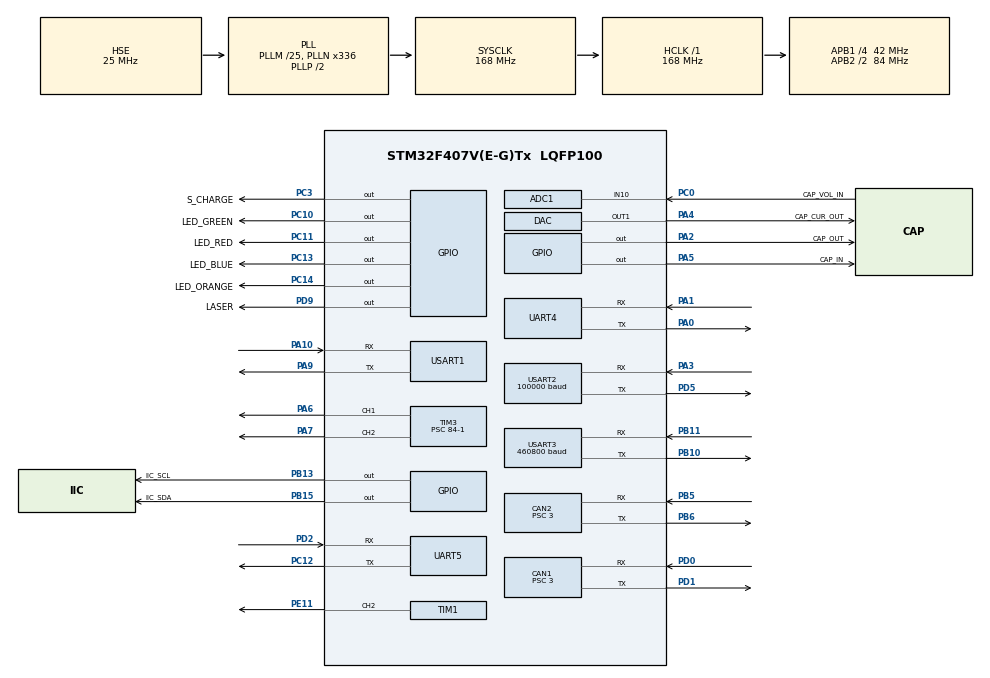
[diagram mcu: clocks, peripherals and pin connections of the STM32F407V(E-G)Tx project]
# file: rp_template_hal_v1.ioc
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ADC1.Channel-0\#ChannelRegularConversion=ADC_CHANNEL_10
ADC1.NbrOfConversionFlag=1
ADC1.Rank-0\#ChannelRegularConversion=1
ADC1.SamplingTime-0\#ChannelRegularConversion=ADC_SAMPLETIME_3CYCLES
ADC1.master=1
CAN1.BS1=CAN_BS1_9TQ
CAN1.BS2=CAN_BS2_4TQ
CAN1.CalculateTimeQuantum=71.42857142857143
CAN1.Prescaler=3
CAN1.TXFP=ENABLE
CAN2.BS1=CAN_BS1_9TQ
CAN2.BS2=CAN_BS2_4TQ
CAN2.CalculateTimeQuantum=71.42857142857143
CAN2.Prescaler=3
CAN2.TXFP=ENABLE
DAC.DAC_OutputBuffer=DAC_OUTPUTBUFFER_DISABLE
Dma.Request0=UART5_RX
Dma.Request1=USART1_RX
Dma.Request2=UART4_RX
Dma.Request3=USART2_RX
Dma.Request4=UART5_TX
Dma.Request5=USART3_TX
Dma.Request6=USART3_RX
Dma.UART4_RX.2.Direction=DMA_PERIPH_TO_MEMORY
Dma.UART4_RX.2.FIFOMode=DMA_FIFOMODE_DISABLE
Dma.UART4_RX.2.Instance=DMA1_Stream2
Dma.UART4_RX.2.MemDataAlignment=DMA_MDATAALIGN_BYTE
Dma.UART4_RX.2.MemInc=DMA_MINC_ENABLE
Dma.UART4_RX.2.Mode=DMA_CIRCULAR
Dma.UART4_RX.2.PeriphDataAlignment=DMA_PDATAALIGN_BYTE
Dma.UART4_RX.2.PeriphInc=DMA_PINC_DISABLE
Dma.UART4_RX.2.Priority=DMA_PRIORITY_LOW
Dma.UART5_RX.0.Direction=DMA_PERIPH_TO_MEMORY
Dma.UART5_RX.0.FIFOMode=DMA_FIFOMODE_DISABLE
Dma.UART5_RX.0.Instance=DMA1_Stream0
Dma.UART5_RX.0.MemDataAlignment=DMA_MDATAALIGN_BYTE
Dma.UART5_RX.0.MemInc=DMA_MINC_ENABLE
Dma.UART5_RX.0.Mode=DMA_CIRCULAR
Dma.UART5_RX.0.PeriphDataAlignment=DMA_PDATAALIGN_BYTE
Dma.UART5_RX.0.PeriphInc=DMA_PINC_DISABLE
Dma.UART5_RX.0.Priority=DMA_PRIORITY_VERY_HIGH
Dma.UART5_TX.4.Direction=DMA_MEMORY_TO_PERIPH
Dma.UART5_TX.4.FIFOMode=DMA_FIFOMODE_DISABLE
Dma.UART5_TX.4.Instance=DMA1_Stream7
Dma.UART5_TX.4.MemDataAlignment=DMA_MDATAALIGN_BYTE
Dma.UART5_TX.4.MemInc=DMA_MINC_ENABLE
Dma.UART5_TX.4.Mode=DMA_CIRCULAR
Dma.UART5_TX.4.PeriphDataAlignment=DMA_PDATAALIGN_BYTE
Dma.UART5_TX.4.PeriphInc=DMA_PINC_DISABLE
Dma.UART5_TX.4.Priority=DMA_PRIORITY_VERY_HIGH
Dma.USART1_RX.1.Direction=DMA_PERIPH_TO_MEMORY
Dma.USART1_RX.1.FIFOMode=DMA_FIFOMODE_DISABLE
Dma.USART1_RX.1.Instance=DMA2_Stream2
Dma.USART1_RX.1.MemDataAlignment=DMA_MDATAALIGN_BYTE
Dma.USART1_RX.1.MemInc=DMA_MINC_ENABLE
Dma.USART1_RX.1.Mode=DMA_CIRCULAR
Dma.USART1_RX.1.PeriphDataAlignment=DMA_PDATAALIGN_BYTE
Dma.USART1_RX.1.PeriphInc=DMA_PINC_DISABLE
Dma.USART1_RX.1.Priority=DMA_PRIORITY_MEDIUM
Dma.USART2_RX.3.Direction=DMA_PERIPH_TO_MEMORY
Dma.USART2_RX.3.FIFOMode=DMA_FIFOMODE_DISABLE
Dma.USART2_RX.3.Instance=DMA1_Stream5
Dma.USART2_RX.3.MemDataAlignment=DMA_MDATAALIGN_BYTE
Dma.USART2_RX.3.MemInc=DMA_MINC_ENABLE
Dma.USART2_RX.3.Mode=DMA_CIRCULAR
Dma.USART2_RX.3.PeriphDataAlignment=DMA_PDATAALIGN_BYTE
Dma.USART2_RX.3.PeriphInc=DMA_PINC_DISABLE
Dma.USART2_RX.3.Priority=DMA_PRIORITY_VERY_HIGH
Dma.USART3_RX.6.Direction=DMA_PERIPH_TO_MEMORY
Dma.USART3_RX.6.FIFOMode=DMA_FIFOMODE_DISABLE
Dma.USART3_RX.6.Instance=DMA1_Stream1
Dma.USART3_RX.6.MemDataAlignment=DMA_MDATAALIGN_BYTE
Dma.USART3_RX.6.MemInc=DMA_MINC_ENABLE
Dma.USART3_RX.6.Mode=DMA_CIRCULAR
Dma.USART3_RX.6.PeriphDataAlignment=DMA_PDATAALIGN_BYTE
Dma.USART3_RX.6.PeriphInc=DMA_PINC_DISABLE
Dma.USART3_RX.6.Priority=DMA_PRIORITY_HIGH
Dma.USART3_TX.5.Direction=DMA_MEMORY_TO_PERIPH
Dma.USART3_TX.5.FIFOMode=DMA_FIFOMODE_DISABLE
Dma.USART3_TX.5.Instance=DMA1_Stream3
Dma.USART3_TX.5.MemDataAlignment=DMA_MDATAALIGN_BYTE
Dma.USART3_TX.5.MemInc=DMA_MINC_ENABLE
Dma.USART3_TX.5.Mode=DMA_CIRCULAR
Dma.USART3_TX.5.PeriphDataAlignment=DMA_PDATAALIGN_BYTE
Dma.USART3_TX.5.PeriphInc=DMA_PINC_DISABLE
Dma.USART3_TX.5.Priority=DMA_PRIORITY_HIGH
FREERTOS.Tasks01=MonitorTask,0,256,StartMonitorTask,As weak,NULL,Dynamic,NULL,NULL;Check_Task,-3,128,CheckTask,As external,NULL,Dynamic,NULL,NULL;BMI_Task,-3,128,BmiUpdateTask,As external,NULL,Dynamic,NULL,NULL;M2H_Task,-3,128,M2HTask,As external,NULL,Dynamic,NULL,NULL;Chassis_Task,-3,128,ChassisTask,As external,NULL,Dynamic,NULL,NULL;Gimbal_Task,-3,128,GimbalTask,As external,NULL,Dynamic,NULL,NULL;Vision_Task,-3,256,VisionTask,As external,NULL,Dynamic,NULL,NULL;Shoot_Task,-3,128,ShootTask,As external,NULL,Dynamic,NULL,NULL
Mcu.Family=STM32F4
Mcu.Name=STM32F407V(E-G)Tx
Mcu.Package=LQFP100
NVIC.CAN1_RX0_IRQn=true\:0\:0\:false\:false\:true\:true\:true\:true\:true
NVIC.CAN2_RX0_IRQn=true\:0\:0\:false\:false\:true\:true\:true\:true\:true
NVIC.DMA1_Stream0_IRQn=true\:0\:0\:false\:false\:true\:true\:false\:true\:true
NVIC.DMA1_Stream1_IRQn=true\:0\:0\:false\:false\:true\:true\:false\:true\:true
NVIC.DMA1_Stream2_IRQn=true\:0\:0\:false\:false\:true\:true\:false\:true\:true
NVIC.DMA1_Stream3_IRQn=true\:0\:0\:false\:false\:true\:true\:false\:true\:true
NVIC.DMA1_Stream5_IRQn=true\:0\:0\:false\:false\:true\:true\:false\:true\:true
NVIC.DMA1_Stream7_IRQn=true\:0\:0\:false\:false\:true\:true\:false\:true\:true
NVIC.DMA2_Stream2_IRQn=true\:0\:0\:false\:false\:true\:true\:false\:true\:true
NVIC.PriorityGroup=NVIC_PRIORITYGROUP_4
NVIC.TIM2_IRQn=true\:0\:0\:false\:false\:true\:false\:false\:true\:true
NVIC.TimeBase=TIM2_IRQn
NVIC.TimeBaseIP=TIM2
NVIC.UART4_IRQn=true\:0\:0\:false\:false\:true\:true\:true\:true\:true
NVIC.UART5_IRQn=true\:0\:0\:false\:false\:true\:true\:true\:true\:true
NVIC.USART1_IRQn=true\:0\:0\:false\:false\:true\:true\:true\:true\:true
NVIC.USART2_IRQn=true\:0\:0\:false\:false\:true\:true\:true\:true\:true
NVIC.USART3_IRQn=true\:0\:0\:false\:false\:true\:false\:true\:true\:true
PA0-WKUP.Mode=Asynchronous
PA0-WKUP.Signal=UART4_TX
PA1.Mode=Asynchronous
PA1.Signal=UART4_RX
PA10.Mode=Asynchronous
PA10.Signal=USART1_RX
PA2.GPIO_Label=CAP_OUT
PA2.GPIO_Speed=GPIO_SPEED_FREQ_VERY_HIGH
PA2.Signal=GPIO_Output
PA3.Mode=Asynchronous
PA3.Signal=USART2_RX
PA4.GPIO_Label=CAP_CUR_OUT
PA4.Signal=COMP_DAC1_group
PA5.GPIO_Label=CAP_IN
PA5.GPIO_Speed=GPIO_SPEED_FREQ_VERY_HIGH
PA5.Signal=GPIO_Output
PA6.Signal=S_TIM3_CH1
PA7.Signal=S_TIM3_CH2
PA9.Mode=Asynchronous
PA9.Signal=USART1_TX
PB10.Mode=Asynchronous
PB10.Signal=USART3_TX
PB11.Mode=Asynchronous
PB11.Signal=USART3_RX
PB13.GPIO_Label=IIC_SCL
PB13.GPIO_Speed=GPIO_SPEED_FREQ_VERY_HIGH
PB13.PinState=GPIO_PIN_SET
PB13.Signal=GPIO_Output
PB15.GPIO_Label=IIC_SDA
PB15.GPIO_Speed=GPIO_SPEED_FREQ_VERY_HIGH
PB15.PinState=GPIO_PIN_SET
PB15.Signal=GPIO_Output
PB5.Mode=Slave
PB5.Signal=CAN2_RX
PB6.Mode=Slave
PB6.Signal=CAN2_TX
PC0.GPIO_Label=CAP_VOL_IN
PC0.Signal=ADCx_IN10
PC10.GPIO_Label=LED_GREEN
PC10.GPIO_Speed=GPIO_SPEED_FREQ_LOW
PC10.PinState=GPIO_PIN_SET
PC10.Signal=GPIO_Output
PC11.GPIO_Label=LED_RED
PC11.GPIO_Speed=GPIO_SPEED_FREQ_LOW
PC11.PinState=GPIO_PIN_SET
PC11.Signal=GPIO_Output
PC12.Mode=Asynchronous
PC12.Signal=UART5_TX
PC13-ANTI_TAMP.GPIO_Label=LED_BLUE
PC13-ANTI_TAMP.PinState=GPIO_PIN_SET
PC13-ANTI_TAMP.Signal=GPIO_Output
PC14-OSC32_IN.GPIO_Label=LED_ORANGE
PC14-OSC32_IN.PinState=GPIO_PIN_SET
PC14-OSC32_IN.Signal=GPIO_Output
PC3.GPIO_Label=S_CHARGE
PC3.GPIO_Speed=GPIO_SPEED_FREQ_VERY_HIGH
PC3.Signal=GPIO_Output
PD0.Mode=Master
PD0.Signal=CAN1_RX
PD1.Mode=Master
PD1.Signal=CAN1_TX
PD2.Mode=Asynchronous
PD2.Signal=UART5_RX
PD5.Mode=Asynchronous
PD5.Signal=USART2_TX
PD9.GPIO_Label=LASER
PD9.GPIO_Speed=GPIO_SPEED_FREQ_LOW
PD9.PinState=GPIO_PIN_SET
PD9.Signal=GPIO_Output
PE11.Signal=S_TIM1_CH2
PH0-OSC_IN.Mode=HSE-External-Oscillator
PH0-OSC_IN.Signal=RCC_OSC_IN
PH1-OSC_OUT.Mode=HSE-External-Oscillator
PH1-OSC_OUT.Signal=RCC_OSC_OUT
ProjectManager.HeapSize=0x200
ProjectManager.StackSize=0x400
ProjectManager.TargetToolchain=MDK-ARM V5
RCC.48MHZClocksFreq_Value=84000000
RCC.AHBFreq_Value=168000000
RCC.APB1CLKDivider=RCC_HCLK_DIV4
RCC.APB1Freq_Value=42000000
RCC.APB1TimFreq_Value=84000000
RCC.APB2CLKDivider=RCC_HCLK_DIV2
RCC.APB2Freq_Value=84000000
RCC.APB2TimFreq_Value=168000000
RCC.CortexFreq_Value=168000000
RCC.HCLKFreq_Value=168000000
RCC.HSE_VALUE=25000000
RCC.HSI_VALUE=16000000
RCC.LSE_VALUE=32768
RCC.PLLM=25
RCC.PLLN=336
RCC.PLLSourceVirtual=RCC_PLLSOURCE_HSE
RCC.SYSCLKFreq_VALUE=168000000
RCC.SYSCLKSource=RCC_SYSCLKSOURCE_PLLCLK
RCC.VCOOutputFreq_Value=336000000
SH.ADCx_IN10.0=ADC1_IN10,IN10
SH.COMP_DAC1_group.0=DAC_OUT1,DAC_OUT1
SH.S_TIM1_CH2.0=TIM1_CH2,PWM Generation2 CH2
SH.S_TIM3_CH1.0=TIM3_CH1,PWM Generation1 CH1
SH.S_TIM3_CH2.0=TIM3_CH2,PWM Generation2 CH2
TIM1.Channel-PWM\ Generation2\ CH2=TIM_CHANNEL_2
TIM1.Period=1000-1
TIM1.Prescaler=3360-1
TIM3.Channel-PWM\ Generation1\ CH1=TIM_CHANNEL_1
TIM3.Channel-PWM\ Generation2\ CH2=TIM_CHANNEL_2
TIM3.Period=2500-1
TIM3.Prescaler=84-1
UART4.VirtualMode=Asynchronous
UART5.VirtualMode=Asynchronous
USART1.VirtualMode=VM_ASYNC
USART2.BaudRate=100000
USART2.VirtualMode=VM_ASYNC
USART3.BaudRate=460800
USART3.VirtualMode=VM_ASYNC
VP_FREERTOS_VS_CMSIS_V1.Mode=CMSIS_V1
VP_SYS_VS_tim2.Mode=TIM2
VP_TIM1_VS_ClockSourceINT.Mode=Internal
VP_TIM3_VS_ClockSourceINT.Mode=Internal
board=custom

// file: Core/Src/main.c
/* USER CODE BEGIN Header */
/**
  ******************************************************************************
  * @file           : main.c
  * @brief          : Main program body
  ******************************************************************************
  * @attention
  *
  * <h2><center>&copy; Copyright (c) 2023 STMicroelectronics.
  * All rights reserved.</center></h2>
  *
  * This software component is licensed by ST under Ultimate Liberty license
  * SLA0044, the "License"; You may not use this file except in compliance with
  * the License. You may obtain a copy of the License at:
  *                             www.st.com/SLA0044
  *
  ******************************************************************************
  */
/* USER CODE END Header */
#include "main.h"
#include "cmsis_os.h"
#include "adc.h"
#include "can.h"
#include "dac.h"
#include "dma.h"
#include "iwdg.h"
#include "tim.h"
#include "usart.h"
#include "gpio.h"

/* USER CODE BEGIN Includes */
#include "driver.h"
#include "bmi.h"
#include "remote.h"
#include "9015_motor.h"
#include "3508_motor.h"
#include "dji_pid.h"
#include "rp_chassis.h"
#include "rp_gimbal.h"
#include "can_protocol.h"
#include "Car.h"
#include "rp_shoot.h"
#include "vision.h"
#include "judge.h"
#include "judge.h"
#include "drv_can.h"
/* USER CODE END Includes */

/* USER CODE BEGIN PV */
#define DEBUG 1

/*陀螺仪数据*/
bmi_t bmi_structure;
short gyrox, gyroy, gyroz;
short accx, accy, accz;

extern Master_Head_t   Master_Head_structure;

/*遥控器数据*/
rc_t                   rc_structure;
rc_info_t              rc_info_structure;
rc_base_info_t         rc_base_info_structure;

/*9015电机*/
motor_9015_t           motor_9015_structure;
motor_9015_info_t      motor_9015_info_structure;
motor_9015_base_info_t motor_9015_base_info_structure;
motor_9015_pid_t       motor_9015_pid_structure;

/*test pid*/
pid_t                  pid_position_structure;

/*底盘电机*/
motor_3508_t           motor_3508_LF_structure;
motor_3508_base_info_t motor_3508_LF_base_info;
motor_3508_info_t      motor_3508_LF_info;

motor_3508_t           motor_3508_RF_structure;
motor_3508_base_info_t motor_3508_RF_base_info;
motor_3508_info_t      motor_3508_RF_info;

motor_3508_t           motor_3508_LB_structure;
motor_3508_base_info_t motor_3508_LB_base_info;
motor_3508_info_t      motor_3508_LB_info;

motor_3508_t           motor_3508_RB_structure;
motor_3508_base_info_t motor_3508_RB_base_info;
motor_3508_info_t      motor_3508_RB_info;

/*底盘电机PID*/
pid_t                  chassis_pid_speed_structure[4];

/*底盘跟随PID*/
pid_t                  chassis_pid_follow_structure;

/*底盘*/
extern chassis_t       Chassis;

/*云台*/
gimbal_t               Gimbal;

/*整车状态*/
car_t                  car_structure;

/*裁判系统*/
//judge_t                judge;

/* USER CODE END PV */

void SystemClock_Config(void);
void MX_FREERTOS_Init(void);

int main(void)
{

  /* MCU Configuration--------------------------------------------------------*/

  /* Reset of all peripherals, Initializes the Flash interface and the Systick. */
  HAL_Init();

  /* Configure the system clock */
  SystemClock_Config();

  /* Initialize all configured peripherals */
  MX_GPIO_Init();
  MX_DMA_Init();
  MX_TIM3_Init();
  MX_USART2_UART_Init();
  MX_CAN1_Init();
  MX_CAN2_Init();
  MX_TIM1_Init();
  MX_ADC1_Init();
  MX_DAC_Init();
  MX_UART4_Init();
  MX_UART5_Init();
  MX_USART1_UART_Init();
  MX_USART3_UART_Init();

  //MX_IWDG_Init();
  /* USER CODE BEGIN 2 */

  DRIVER_Init();
  /*初始化*/

  VISION_INIT();

  SHOOT_INIT();

  rc_init(&rc_structure ,&rc_info_structure, &rc_base_info_structure);

  MOTOR_9015_INIT();

  PID_struct_init(&pid_position_structure,POSITION_PID,POSITION_LIM_O,POSITION_LIM_I,POSITION_PID_P,POSITION_PID_I,POSITION_PID_D);

  Chassis_Init(&Chassis);

  Master_Head_INIT(&Master_Head_structure);

  GIMBAL_INIT(&Gimbal,&motor_9015_structure);

  my_bmi_init();

  /*看门狗最后启动*/
  #if DEBUG
  MX_IWDG_Init();
  #endif
  /* USER CODE END 2 */

  /* Call init function for freertos objects (in freertos.c) */
  MX_FREERTOS_Init();
  /* Start scheduler */
  osKernelStart();

  /* We should never get here as control is now taken by the scheduler */
  /* Infinite loop */
  while (1)
  {

  }
}

void SystemClock_Config(void)
{
  RCC_OscInitTypeDef RCC_OscInitStruct = {0};
  RCC_ClkInitTypeDef RCC_ClkInitStruct = {0};

  /** Configure the main internal regulator output voltage
  */
  __HAL_RCC_PWR_CLK_ENABLE();
  __HAL_PWR_VOLTAGESCALING_CONFIG(PWR_REGULATOR_VOLTAGE_SCALE1);
  /** Initializes the RCC Oscillators according to the specified parameters
  * in the RCC_OscInitTypeDef structure.
  */
  RCC_OscInitStruct.OscillatorType = RCC_OSCILLATORTYPE_LSI|RCC_OSCILLATORTYPE_HSE;
  RCC_OscInitStruct.HSEState = RCC_HSE_ON;
  RCC_OscInitStruct.LSIState = RCC_LSI_ON;
  RCC_OscInitStruct.PLL.PLLState = RCC_PLL_ON;
  RCC_OscInitStruct.PLL.PLLSource = RCC_PLLSOURCE_HSE;
  RCC_OscInitStruct.PLL.PLLM = 25;
  RCC_OscInitStruct.PLL.PLLN = 336;
  RCC_OscInitStruct.PLL.PLLP = RCC_PLLP_DIV2;
  RCC_OscInitStruct.PLL.PLLQ = 4;
  if (HAL_RCC_OscConfig(&RCC_OscInitStruct) != HAL_OK)
  {
    Error_Handler();
  }
  /** Initializes the CPU, AHB and APB buses clocks
  */
  RCC_ClkInitStruct.ClockType = RCC_CLOCKTYPE_HCLK|RCC_CLOCKTYPE_SYSCLK
                              |RCC_CLOCKTYPE_PCLK1|RCC_CLOCKTYPE_PCLK2;
  RCC_ClkInitStruct.SYSCLKSource = RCC_SYSCLKSOURCE_PLLCLK;
  RCC_ClkInitStruct.AHBCLKDivider = RCC_SYSCLK_DIV1;
  RCC_ClkInitStruct.APB1CLKDivider = RCC_HCLK_DIV4;
  RCC_ClkInitStruct.APB2CLKDivider = RCC_HCLK_DIV2;

  if (HAL_RCC_ClockConfig(&RCC_ClkInitStruct, FLASH_LATENCY_5) != HAL_OK)
  {
    Error_Handler();
  }
}

void HAL_TIM_PeriodElapsedCallback(TIM_HandleTypeDef *htim)
{
  if (htim->Instance == TIM2) {
    HAL_IncTick();
  }
}

void Error_Handler(void)
{
}

/************************ (C) COPYRIGHT STMicroelectronics *****END OF FILE****/

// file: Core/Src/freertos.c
/* USER CODE BEGIN Header */
/**
  ******************************************************************************
  * File Name          : freertos.c
  * Description        : Code for freertos applications
  ******************************************************************************
  * @attention
  *
  * <h2><center>&copy; Copyright (c) 2023 STMicroelectronics.
  * All rights reserved.</center></h2>
  *
  * This software component is licensed by ST under Ultimate Liberty license
  * SLA0044, the "License"; You may not use this file except in compliance with
  * the License. You may obtain a copy of the License at:
  *                             www.st.com/SLA0044
  *
  ******************************************************************************
  */
/* USER CODE END Header */

#include "FreeRTOS.h"
#include "task.h"
#include "main.h"
#include "cmsis_os.h"

osThreadId MonitorTaskHandle;
osThreadId Check_TaskHandle;
osThreadId BMI_TaskHandle;
osThreadId M2H_TaskHandle;
osThreadId Chassis_TaskHandle;
osThreadId Gimbal_TaskHandle;
osThreadId Vision_TaskHandle;
osThreadId Shoot_TaskHandle;

void StartMonitorTask(void const * argument);
extern void CheckTask(void const * argument);
extern void BmiUpdateTask(void const * argument);
extern void M2HTask(void const * argument);
extern void ChassisTask(void const * argument);
extern void GimbalTask(void const * argument);
extern void VisionTask(void const * argument);
extern void ShootTask(void const * argument);

void MX_FREERTOS_Init(void); /* (MISRA C 2004 rule 8.1) */

/* GetIdleTaskMemory prototype (linked to static allocation support) */
void vApplicationGetIdleTaskMemory( StaticTask_t **ppxIdleTaskTCBBuffer, StackType_t **ppxIdleTaskStackBuffer, uint32_t *pulIdleTaskStackSize );

/* USER CODE BEGIN GET_IDLE_TASK_MEMORY */
static StaticTask_t xIdleTaskTCBBuffer;
static StackType_t xIdleStack[configMINIMAL_STACK_SIZE];

void vApplicationGetIdleTaskMemory( StaticTask_t **ppxIdleTaskTCBBuffer, StackType_t **ppxIdleTaskStackBuffer, uint32_t *pulIdleTaskStackSize )
{
  *ppxIdleTaskTCBBuffer = &xIdleTaskTCBBuffer;
  *ppxIdleTaskStackBuffer = &xIdleStack[0];
  *pulIdleTaskStackSize = configMINIMAL_STACK_SIZE;
  /* place for user code */
}
/* USER CODE END GET_IDLE_TASK_MEMORY */

void MX_FREERTOS_Init(void) {

  /* Create the thread(s) */
  /* definition and creation of MonitorTask */
  osThreadDef(MonitorTask, StartMonitorTask, osPriorityNormal, 0, 256);
  MonitorTaskHandle = osThreadCreate(osThread(MonitorTask), NULL);

  /* definition and creation of Check_Task */
  osThreadDef(Check_Task, CheckTask, osPriorityIdle, 0, 128);
  Check_TaskHandle = osThreadCreate(osThread(Check_Task), NULL);

  /* definition and creation of BMI_Task */
  osThreadDef(BMI_Task, BmiUpdateTask, osPriorityIdle, 0, 128);
  BMI_TaskHandle = osThreadCreate(osThread(BMI_Task), NULL);

  /* definition and creation of M2H_Task */
  osThreadDef(M2H_Task, M2HTask, osPriorityIdle, 0, 128);
  M2H_TaskHandle = osThreadCreate(osThread(M2H_Task), NULL);

  /* definition and creation of Chassis_Task */
  osThreadDef(Chassis_Task, ChassisTask, osPriorityIdle, 0, 128);
  Chassis_TaskHandle = osThreadCreate(osThread(Chassis_Task), NULL);

  /* definition and creation of Gimbal_Task */
  osThreadDef(Gimbal_Task, GimbalTask, osPriorityIdle, 0, 128);
  Gimbal_TaskHandle = osThreadCreate(osThread(Gimbal_Task), NULL);

  /* definition and creation of Vision_Task */
  osThreadDef(Vision_Task, VisionTask, osPriorityIdle, 0, 256);
  Vision_TaskHandle = osThreadCreate(osThread(Vision_Task), NULL);

  /* definition and creation of Shoot_Task */
  osThreadDef(Shoot_Task, ShootTask, osPriorityIdle, 0, 128);
  Shoot_TaskHandle = osThreadCreate(osThread(Shoot_Task), NULL);

}

__weak void StartMonitorTask(void const * argument)
{
  for(;;)
  {
    osDelay(1);
  }
}

/************************ (C) COPYRIGHT STMicroelectronics *****END OF FILE****/
